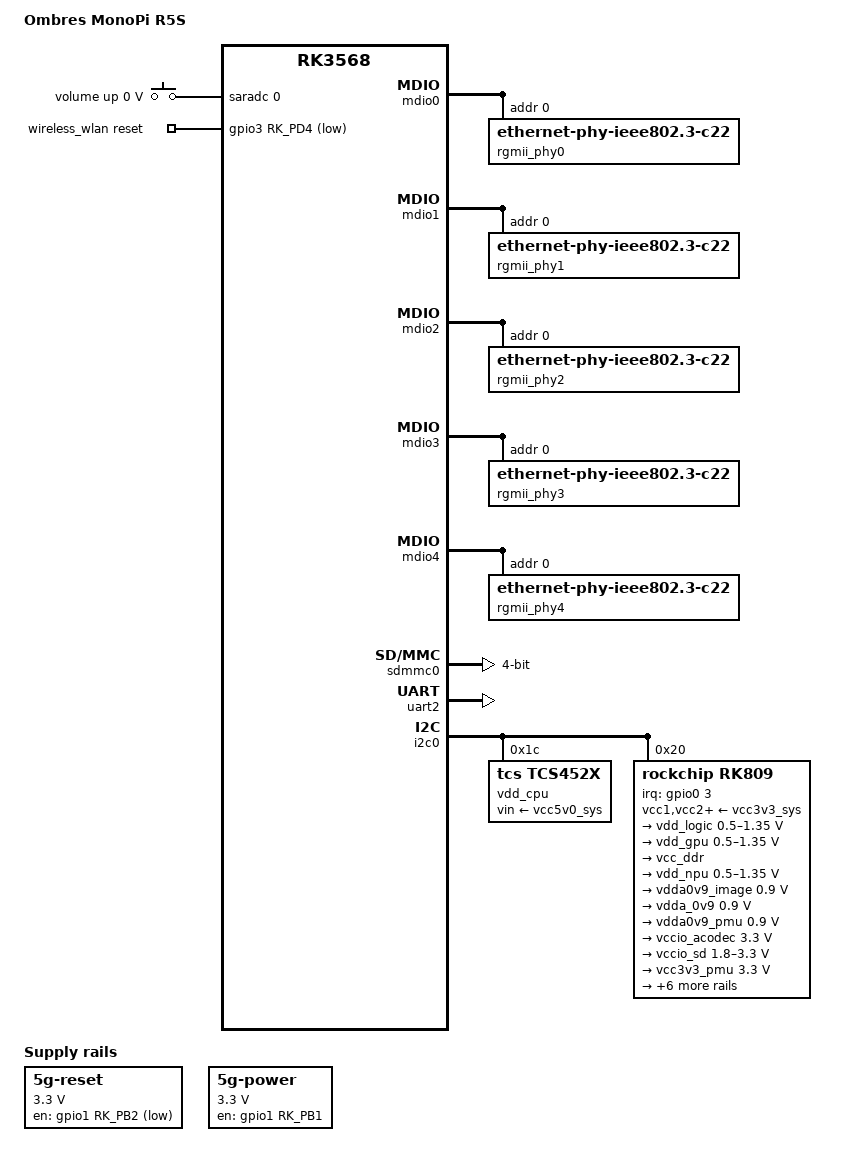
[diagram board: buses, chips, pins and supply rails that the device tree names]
/*
****************************************************************************************************************
*= = SPDX-License-Identifier: MIT
*= = Copyright (C) 2015 - 2029. Asytumn Technology Co., Ltd.
*= = Carlyon W. Tung
****************************************************************************************************************
*/

/dts-v1/;

#include <dt-bindings/gpio/gpio.h>
#include <dt-bindings/input/input.h>
#include <dt-bindings/pinctrl/rockchip.h>

#include "rk3568.dtsi"
#include "rk3568-u-boot.dtsi"

/ {
    model = "Ombres MonoPi R5S";
    compatible = "ombres,monopi-r5s", "rockchip,rk3568";

    chosen {
        stdout-path = &uart2;
        u-boot,spl-boot-order = "same-as-spl", &sdmmc0, &sdhci;
    };

    adc-keys {
        compatible = "adc-keys";
        io-channels = <&saradc 0>;
        io-channel-names = "buttons";
        keyup-threshold-microvolt = <1800000>;
        u-boot,dm-spl;
        status = "okay";

        volumeup-key {
            u-boot,dm-spl;
            linux,code = <KEY_VOLUMEUP>;
            label = "volume up";
            press-threshold-microvolt = <9>;
        };
    };

    wireless_wlan: wireless-wlan {
        compatible = "mmc-pwrseq-simple";
        clocks = <&rk809 1>;
        clock-names = "ext_clock";
        pinctrl-names = "default";
        pinctrl-0 = <&wifi_enable_h>;

        /*
         * On the module itself this is one of these (depending
         * on the actual card populated):
         * - SDIO_RESET_L_WL_REG_ON
         * - PDN (power down when low)
         */
        post-power-on-delay-ms = <200>;
        reset-gpios = <&gpio3 RK_PD4 GPIO_ACTIVE_LOW>;
    };

    5g-reset {
        compatible = "regulator-fixed";
        regulator-name = "5g-reset";
        regulator-min-microvolt = <3300000>;
        regulator-max-microvolt = <3300000>;
        gpio = <&gpio1 RK_PB2 GPIO_ACTIVE_LOW>;
        enable-active-low;
        regulator-boot-on;
        regulator-always-on;
        pinctrl-names = "default";
        pinctrl-0 = <&net_5g_rst_gpio>;
        status = "okay";
    };

    5g-power {
        compatible = "regulator-fixed";
        regulator-name = "5g-power";
        regulator-min-microvolt = <3300000>;
        regulator-max-microvolt = <3300000>;
        gpio = <&gpio1 RK_PB1 GPIO_ACTIVE_HIGH>;
        enable-active-high;
        regulator-boot-on;
        regulator-always-on;
        pinctrl-names = "default";
        pinctrl-0 = <&net_5g_pwr_gpio>;
        status = "okay";
    };
};

&gmac0 {
    phy-mode = "rgmii";
    clock_in_out = "output";

    snps,reset-gpio = <&gpio2 RK_PD4 GPIO_ACTIVE_LOW>;
    snps,reset-active-low;
    /* Reset time is 20ms, 100ms for rtl8211f */
    snps,reset-delays-us = <0 20000 100000>;
    assigned-clocks = <&cru SCLK_GMAC0_RX_TX>, <&cru SCLK_GMAC0>;
    assigned-clock-parents = <&cru SCLK_GMAC0_RGMII_SPEED>;
    assigned-clock-rates = <0>, <125000000>;

    pinctrl-names = "default";
    pinctrl-0 = <&gmac0_miim
             &gmac0_tx_bus2
             &gmac0_rx_bus2
             &gmac0_rgmii_clk
             &gmac0_rgmii_bus>;

    tx_delay = <0x3c>;
    rx_delay = <0x2f>;

    phy-handle = <&rgmii_phy0>;
    status = "disabled";
};

&gmac1 {
    phy-mode = "rgmii";
    clock_in_out = "output";

    snps,reset-gpio = <&gpio2 RK_PD6 GPIO_ACTIVE_LOW>;
    snps,reset-active-low;
    /* Reset time is 20ms, 100ms for rtl8211f */
    snps,reset-delays-us = <0 20000 100000>;

    assigned-clocks = <&cru SCLK_GMAC1_RX_TX>, <&cru SCLK_GMAC1>;
    assigned-clock-parents = <&cru SCLK_GMAC1_RGMII_SPEED>;
    assigned-clock-rates = <0>, <125000000>;

    pinctrl-names = "default";
    pinctrl-0 = <&gmac1m1_miim
             &gmac1m1_tx_bus2
             &gmac1m1_rx_bus2
             &gmac1m1_rgmii_clk
             &gmac1m1_rgmii_bus>;

    tx_delay = <0x4f>;
    rx_delay = <0x26>;

    phy-handle = <&rgmii_phy1>;
    status = "disabled";
};

&gmac2 {
    phy-mode = "rgmii";
    clock_in_out = "output";

    snps,reset-gpio = <&gpio2 RK_PD4 GPIO_ACTIVE_LOW>;
    snps,reset-active-low;
    /* Reset time is 20ms, 100ms for rtl8211f */
    snps,reset-delays-us = <0 20000 100000>;
    assigned-clocks = <&cru SCLK_GMAC2_RX_TX>, <&cru SCLK_GMAC2>;
    assigned-clock-parents = <&cru SCLK_GMAC2_RGMII_SPEED>;
    assigned-clock-rates = <0>, <125000000>;

    pinctrl-names = "default";
    pinctrl-0 = <&gmac2_miim
             &gmac2_tx_bus2
             &gmac2_rx_bus2
             &gmac2_rgmii_clk
             &gmac2_rgmii_bus>;

    tx_delay = <0x3c>;
    rx_delay = <0x2f>;

    phy-handle = <&rgmii_phy2>;
    status = "disabled";
};

&gmac3 {
    phy-mode = "rgmii";
    clock_in_out = "output";

    snps,reset-gpio = <&gpio2 RK_PD4 GPIO_ACTIVE_LOW>;
    snps,reset-active-low;
    /* Reset time is 20ms, 100ms for rtl8211f */
    snps,reset-delays-us = <0 20000 100000>;
    assigned-clocks = <&cru SCLK_GMAC3_RX_TX>, <&cru SCLK_GMAC3>;
    assigned-clock-parents = <&cru SCLK_GMAC3_RGMII_SPEED>;
    assigned-clock-rates = <0>, <125000000>;

    pinctrl-names = "default";
    pinctrl-0 = <&gmac3_miim
             &gmac3_tx_bus2
             &gmac3_rx_bus2
             &gmac3_rgmii_clk
             &gmac3_rgmii_bus>;

    tx_delay = <0x3c>;
    rx_delay = <0x2f>;

    phy-handle = <&rgmii_phy3>;
    status = "disabled";
};

&gmac4 {
    phy-mode = "rgmii";
    clock_in_out = "output";

    snps,reset-gpio = <&gpio2 RK_PD4 GPIO_ACTIVE_LOW>;
    snps,reset-active-low;
    /* Reset time is 20ms, 100ms for rtl8211f */
    snps,reset-delays-us = <0 20000 100000>;
    assigned-clocks = <&cru SCLK_GMAC4_RX_TX>, <&cru SCLK_GMAC4>;
    assigned-clock-parents = <&cru SCLK_GMAC4_RGMII_SPEED>;
    assigned-clock-rates = <0>, <125000000>;

    pinctrl-names = "default";
    pinctrl-0 = <&gmac4_miim
             &gmac4_tx_bus2
             &gmac4_rx_bus2
             &gmac4_rgmii_clk
             &gmac4_rgmii_bus>;

    tx_delay = <0x3c>;
    rx_delay = <0x2f>;

    phy-handle = <&rgmii_phy4>;
    status = "disabled";
};

&mdio0 {
    rgmii_phy0: phy@0 {
        compatible = "ethernet-phy-ieee802.3-c22";
        reg = <0x0>;
    };
};

&mdio1 {
    rgmii_phy1: phy@0 {
        compatible = "ethernet-phy-ieee802.3-c22";
        reg = <0x0>;
    };
};

&mdio2 {
    rgmii_phy2: phy@0 {
        compatible = "ethernet-phy-ieee802.3-c22";
        reg = <0x0>;
    };
};

&mdio3 {
    rgmii_phy3: phy@0 {
        compatible = "ethernet-phy-ieee802.3-c22";
        reg = <0x0>;
    };
};

&mdio4 {
    rgmii_phy4: phy@0 {
        compatible = "ethernet-phy-ieee802.3-c22";
        reg = <0x0>;
    };
};

&sdmmc0 {
    bus-width = <4>;
    u-boot,dm-spl;
    u-boot,spl-fifo-mode;
};

&uart2 {
    clock-frequency = <24000000>;
    u-boot,dm-spl;
    status = "okay";
};

&vop {
    assigned-clocks = <&cru DCLK_VOP0>, <&cru DCLK_VOP1>, <&cru DCLK_VOP2>;
    assigned-clock-parents = <&pmucru PLL_HPLL>, <&cru PLL_VPLL> , <&cru PLL_GPLL>;
};

&pinctrl {
    pmic {
        pmic_int: pmic_int {
            rockchip,pins =
                <0 RK_PA3 RK_FUNC_GPIO &pcfg_pull_up>;
        };

        soc_slppin_gpio: soc_slppin_gpio {
            rockchip,pins =
                <0 RK_PA2 RK_FUNC_GPIO &pcfg_output_low_pull_down>;
        };

        soc_slppin_slp: soc_slppin_slp {
            rockchip,pins =
                <0 RK_PA2 1 &pcfg_pull_up>;
        };

        soc_slppin_rst: soc_slppin_rst {
            rockchip,pins =
                <0 RK_PA2 2 &pcfg_pull_none>;
        };
    };

    wireless-wlan {
        wifi_enable_h: wifi-enable-h {
            rockchip,pins = <3 RK_PD4 RK_FUNC_GPIO &pcfg_pull_none>;
        };
    };

    5G {
        net_5g_rst_gpio: net_5g_rst_gpio {
            rockchip,pins = <1 RK_PB2 RK_FUNC_GPIO &pcfg_pull_none>;
        };

        net_5g_pwr_gpio: net_5g_pwr_gpio {
            rockchip,pins = <1 RK_PB1 RK_FUNC_GPIO &pcfg_pull_none>;
        };
    };
};

&i2c0 {
    status = "okay";

    vdd_cpu: tcs4525@1c {
        compatible = "tcs,tcs452x";
        reg = <0x1c>;
        vin-supply = <&vcc5v0_sys>;
        regulator-compatible = "fan53555-reg";
        regulator-name = "vdd_cpu";
        regulator-min-microvolt = <712500>;
        regulator-max-microvolt = <1390000>;
        regulator-init-microvolt = <900000>;
        regulator-ramp-delay = <2300>;
        fcs,suspend-voltage-selector = <1>;
        regulator-boot-on;
        regulator-always-on;
        regulator-state-mem {
            regulator-off-in-suspend;
        };
    };

    rk809: pmic@20 {
        compatible = "rockchip,rk809";
        reg = <0x20>;
        interrupt-parent = <&gpio0>;
        interrupts = <3 IRQ_TYPE_LEVEL_LOW>;

        pinctrl-names = "default", "pmic-sleep",
                "pmic-power-off", "pmic-reset";
        pinctrl-0 = <&pmic_int>;
        pinctrl-1 = <&soc_slppin_slp>, <&rk817_slppin_slp>;
        pinctrl-2 = <&soc_slppin_gpio>, <&rk817_slppin_pwrdn>;
        pinctrl-3 = <&soc_slppin_gpio>, <&rk817_slppin_rst>;

        rockchip,system-power-controller;
        wakeup-source;
        #clock-cells = <1>;
        clock-output-names = "rk808-clkout1", "rk808-clkout2";
        //fb-inner-reg-idxs = <2>;
        /* 1: rst regs (default in codes), 0: rst the pmic */
        pmic-reset-func = <0>;
        /* not save the PMIC_POWER_EN register in uboot */
        not-save-power-en = <1>;

        vcc1-supply = <&vcc3v3_sys>;
        vcc2-supply = <&vcc3v3_sys>;
        vcc3-supply = <&vcc3v3_sys>;
        vcc4-supply = <&vcc3v3_sys>;
        vcc5-supply = <&vcc3v3_sys>;
        vcc6-supply = <&vcc3v3_sys>;
        vcc7-supply = <&vcc3v3_sys>;
        vcc8-supply = <&vcc3v3_sys>;
        vcc9-supply = <&vcc3v3_sys>;

        pwrkey {
            status = "okay";
        };

        pinctrl_rk8xx: pinctrl_rk8xx {
            gpio-controller;
            #gpio-cells = <2>;

            rk817_slppin_null: rk817_slppin_null {
                pins = "gpio_slp";
                function = "pin_fun0";
            };

            rk817_slppin_slp: rk817_slppin_slp {
                pins = "gpio_slp";
                function = "pin_fun1";
            };

            rk817_slppin_pwrdn: rk817_slppin_pwrdn {
                pins = "gpio_slp";
                function = "pin_fun2";
            };

            rk817_slppin_rst: rk817_slppin_rst {
                pins = "gpio_slp";
                function = "pin_fun3";
            };
        };

        regulators {
            vdd_logic: DCDC_REG1 {
                regulator-always-on;
                regulator-boot-on;
                regulator-min-microvolt = <500000>;
                regulator-max-microvolt = <1350000>;
                regulator-init-microvolt = <900000>;
                regulator-ramp-delay = <6001>;
                regulator-initial-mode = <0x2>;
                regulator-name = "vdd_logic";
                regulator-state-mem {
                    regulator-off-in-suspend;
                };
            };

            vdd_gpu: DCDC_REG2 {
                regulator-always-on;
                regulator-boot-on;
                regulator-min-microvolt = <500000>;
                regulator-max-microvolt = <1350000>;
                regulator-init-microvolt = <900000>;
                regulator-ramp-delay = <6001>;
                regulator-initial-mode = <0x2>;
                regulator-name = "vdd_gpu";
                regulator-state-mem {
                    regulator-off-in-suspend;
                };
            };

            vcc_ddr: DCDC_REG3 {
                regulator-always-on;
                regulator-boot-on;
                regulator-initial-mode = <0x2>;
                regulator-name = "vcc_ddr";
                regulator-state-mem {
                    regulator-on-in-suspend;
                };
            };

            vdd_npu: DCDC_REG4 {
                regulator-always-on;
                regulator-boot-on;
                regulator-min-microvolt = <500000>;
                regulator-max-microvolt = <1350000>;
                regulator-init-microvolt = <900000>;
                regulator-ramp-delay = <6001>;
                regulator-initial-mode = <0x2>;
                regulator-name = "vdd_npu";
                regulator-state-mem {
                    regulator-off-in-suspend;
                };
            };

            vdda0v9_image: LDO_REG1 {
                regulator-boot-on;
                regulator-always-on;
                regulator-min-microvolt = <900000>;
                regulator-max-microvolt = <900000>;
                regulator-name = "vdda0v9_image";
                regulator-state-mem {
                    regulator-off-in-suspend;
                };
            };

            vdda_0v9: LDO_REG2 {
                regulator-always-on;
                regulator-boot-on;
                regulator-min-microvolt = <900000>;
                regulator-max-microvolt = <900000>;
                regulator-name = "vdda_0v9";
                regulator-state-mem {
                    regulator-off-in-suspend;
                };
            };

            vdda0v9_pmu: LDO_REG3 {
                regulator-always-on;
                regulator-boot-on;
                regulator-min-microvolt = <900000>;
                regulator-max-microvolt = <900000>;
                regulator-name = "vdda0v9_pmu";
                regulator-state-mem {
                    regulator-on-in-suspend;
                    regulator-suspend-microvolt = <900000>;
                };
            };

            vccio_acodec: LDO_REG4 {
                regulator-always-on;
                regulator-boot-on;
                regulator-min-microvolt = <3300000>;
                regulator-max-microvolt = <3300000>;
                regulator-name = "vccio_acodec";
                regulator-state-mem {
                    regulator-off-in-suspend;
                };
            };

            vccio_sd: LDO_REG5 {
                regulator-always-on;
                regulator-boot-on;
                regulator-min-microvolt = <1800000>;
                regulator-max-microvolt = <3300000>;
                regulator-name = "vccio_sd";
                regulator-state-mem {
                    regulator-off-in-suspend;
                };
            };

            vcc3v3_pmu: LDO_REG6 {
                regulator-always-on;
                regulator-boot-on;
                regulator-min-microvolt = <3300000>;
                regulator-max-microvolt = <3300000>;
                regulator-name = "vcc3v3_pmu";
                regulator-state-mem {
                    regulator-on-in-suspend;
                    regulator-suspend-microvolt = <3300000>;
                };
            };

            vcca_1v8: LDO_REG7 {
                regulator-always-on;
                regulator-boot-on;
                regulator-min-microvolt = <1800000>;
                regulator-max-microvolt = <1800000>;
                regulator-name = "vcca_1v8";
                regulator-state-mem {
                    regulator-off-in-suspend;
                };
            };

            vcca1v8_pmu: LDO_REG8 {
                regulator-always-on;
                regulator-boot-on;
                regulator-min-microvolt = <1800000>;
                regulator-max-microvolt = <1800000>;
                regulator-name = "vcca1v8_pmu";
                regulator-state-mem {
                    regulator-on-in-suspend;
                    regulator-suspend-microvolt = <1800000>;
                };
            };

            vcca1v8_image: LDO_REG9 {
                regulator-always-on;
                regulator-boot-on;
                regulator-min-microvolt = <1800000>;
                regulator-max-microvolt = <1800000>;
                regulator-name = "vcca1v8_image";
                regulator-state-mem {
                    regulator-off-in-suspend;
                };
            };

            vcc_1v8: DCDC_REG5 {
                regulator-always-on;
                regulator-boot-on;
                regulator-min-microvolt = <1800000>;
                regulator-max-microvolt = <1800000>;
                regulator-name = "vcc_1v8";
                regulator-state-mem {
                    regulator-off-in-suspend;
                };
            };

            vcc_3v3: SWITCH_REG1 {
                regulator-always-on;
                regulator-boot-on;
                regulator-name = "vcc_3v3";
                regulator-state-mem {
                    regulator-off-in-suspend;
                };
            };

            vcc3v3_sd: SWITCH_REG2 {
                regulator-always-on;
                regulator-boot-on;
                regulator-name = "vcc3v3_sd";
                regulator-state-mem {
                    regulator-off-in-suspend;
                };
            };
        };

        rk809_codec: codec {
            #sound-dai-cells = <0>;
            compatible = "rockchip,rk809-codec", "rockchip,rk817-codec";
            clocks = <&cru I2S1_MCLKOUT>;
            clock-names = "mclk";
            assigned-clocks = <&cru I2S1_MCLKOUT>, <&cru I2S1_MCLK_TX_IOE>;
            assigned-clock-rates = <12288000>;
            assigned-clock-parents = <&cru I2S1_MCLKOUT_TX>, <&cru I2S1_MCLKOUT_TX>;
            pinctrl-names = "default";
            pinctrl-0 = <&i2s1mclkm0>;
            hp-volume = <20>;
            spk-volume = <3>;
            mic-in-differential;
            status = "okay";
        };
    };
};


/*
****************************************************************************************************************
*= = END OF FILE
****************************************************************************************************************
*/


